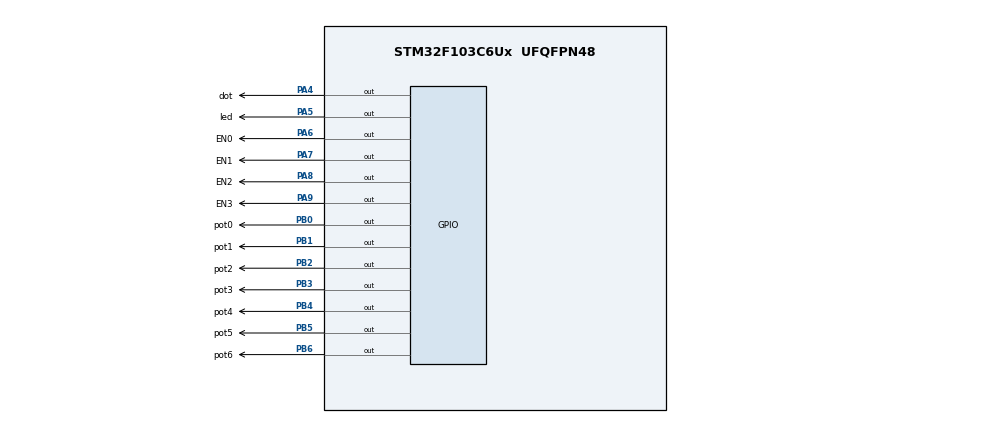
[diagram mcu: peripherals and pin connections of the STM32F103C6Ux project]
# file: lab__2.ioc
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Mcu.Family=STM32F1
Mcu.Name=STM32F103C6Ux
Mcu.Package=UFQFPN48
NVIC.PriorityGroup=NVIC_PRIORITYGROUP_4
NVIC.TIM2_IRQn=true\:0\:0\:false\:false\:true\:true\:true\:true
PA4.GPIO_Label=dot
PA4.Signal=GPIO_Output
PA5.GPIO_Label=led
PA5.Signal=GPIO_Output
PA6.GPIO_Label=EN0
PA6.Signal=GPIO_Output
PA7.GPIO_Label=EN1
PA7.Signal=GPIO_Output
PA8.GPIO_Label=EN2
PA8.Signal=GPIO_Output
PA9.GPIO_Label=EN3
PA9.Signal=GPIO_Output
PB0.GPIO_Label=pot0
PB0.Signal=GPIO_Output
PB1.GPIO_Label=pot1
PB1.Signal=GPIO_Output
PB2.GPIO_Label=pot2
PB2.Signal=GPIO_Output
PB3.GPIO_Label=pot3
PB3.Signal=GPIO_Output
PB4.GPIO_Label=pot4
PB4.Signal=GPIO_Output
PB5.GPIO_Label=pot5
PB5.Signal=GPIO_Output
PB6.GPIO_Label=pot6
PB6.Signal=GPIO_Output
ProjectManager.HeapSize=0x200
ProjectManager.StackSize=0x400
ProjectManager.TargetToolchain=STM32CubeIDE
RCC.APB1Freq_Value=8000000
RCC.APB2Freq_Value=8000000
TIM2.Period=9
TIM2.Prescaler=7999
VP_TIM2_VS_ClockSourceINT.Mode=Internal
board=custom

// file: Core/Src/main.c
/* USER CODE BEGIN Header */
/**
  ******************************************************************************
  * @file           : main.c
  * @brief          : Main program body
  ******************************************************************************
  * @attention
  *
  * Copyright (c) 2023 STMicroelectronics.
  * All rights reserved.
  *
  * This software is licensed under terms that can be found in the LICENSE file
  * in the root directory of this software component.
  * If no LICENSE file comes with this software, it is provided AS-IS.
  *
  ******************************************************************************
  */
/* USER CODE END Header */
#include "main.h"

TIM_HandleTypeDef htim2;

void SystemClock_Config(void);
static void MX_GPIO_Init(void);
static void MX_TIM2_Init(void);

/* USER CODE BEGIN 0 */
void display7SEG(int num){
	if (num==0){
		HAL_GPIO_WritePin(GPIOB, pot0_Pin, RESET);
		HAL_GPIO_WritePin(GPIOB, pot1_Pin, RESET);
		HAL_GPIO_WritePin(GPIOB, pot2_Pin, RESET);
		HAL_GPIO_WritePin(GPIOB, pot3_Pin, RESET);
		HAL_GPIO_WritePin(GPIOB, pot4_Pin, RESET);
		HAL_GPIO_WritePin(GPIOB, pot5_Pin, RESET);
		HAL_GPIO_WritePin(GPIOB, pot6_Pin, SET);
	}
	else if (num==1){
		HAL_GPIO_WritePin(GPIOB, pot0_Pin, SET);
		HAL_GPIO_WritePin(GPIOB, pot1_Pin, RESET);
		HAL_GPIO_WritePin(GPIOB, pot2_Pin, RESET);
		HAL_GPIO_WritePin(GPIOB, pot3_Pin, SET);
		HAL_GPIO_WritePin(GPIOB, pot4_Pin, SET);
		HAL_GPIO_WritePin(GPIOB, pot5_Pin, SET);
		HAL_GPIO_WritePin(GPIOB, pot6_Pin, SET);
	}

	else if (num==2){
		HAL_GPIO_WritePin(GPIOB, pot0_Pin, RESET);
		HAL_GPIO_WritePin(GPIOB, pot1_Pin, RESET);
		HAL_GPIO_WritePin(GPIOB, pot2_Pin, SET);
		HAL_GPIO_WritePin(GPIOB, pot3_Pin, RESET);
		HAL_GPIO_WritePin(GPIOB, pot4_Pin, RESET);
		HAL_GPIO_WritePin(GPIOB, pot5_Pin, SET);
		HAL_GPIO_WritePin(GPIOB, pot6_Pin, RESET);
	}

	else if (num==3){
		HAL_GPIO_WritePin(GPIOB, pot0_Pin, RESET);
		HAL_GPIO_WritePin(GPIOB, pot1_Pin, RESET);
		HAL_GPIO_WritePin(GPIOB, pot2_Pin, RESET);
		HAL_GPIO_WritePin(GPIOB, pot3_Pin, RESET);
		HAL_GPIO_WritePin(GPIOB, pot4_Pin, SET);
		HAL_GPIO_WritePin(GPIOB, pot5_Pin, SET);
		HAL_GPIO_WritePin(GPIOB, pot6_Pin, RESET);
	}

	else if (num==4){
		HAL_GPIO_WritePin(GPIOB, pot0_Pin, SET);
		HAL_GPIO_WritePin(GPIOB, pot1_Pin, RESET);
		HAL_GPIO_WritePin(GPIOB, pot2_Pin, RESET);
		HAL_GPIO_WritePin(GPIOB, pot3_Pin, SET);
		HAL_GPIO_WritePin(GPIOB, pot4_Pin, SET);
		HAL_GPIO_WritePin(GPIOB, pot5_Pin, RESET);
		HAL_GPIO_WritePin(GPIOB, pot6_Pin, RESET);
	}

	else if (num==5){
		HAL_GPIO_WritePin(GPIOB, pot0_Pin, RESET);
		HAL_GPIO_WritePin(GPIOB, pot1_Pin, SET);
		HAL_GPIO_WritePin(GPIOB, pot2_Pin, RESET);
		HAL_GPIO_WritePin(GPIOB, pot3_Pin, RESET);
		HAL_GPIO_WritePin(GPIOB, pot4_Pin, SET);
		HAL_GPIO_WritePin(GPIOB, pot5_Pin, RESET);
		HAL_GPIO_WritePin(GPIOB, pot6_Pin, RESET);
	}

	else if (num==6){
		HAL_GPIO_WritePin(GPIOB, pot0_Pin, RESET);
		HAL_GPIO_WritePin(GPIOB, pot1_Pin, SET);
		HAL_GPIO_WritePin(GPIOB, pot2_Pin, RESET);
		HAL_GPIO_WritePin(GPIOB, pot3_Pin, RESET);
		HAL_GPIO_WritePin(GPIOB, pot4_Pin, RESET);
		HAL_GPIO_WritePin(GPIOB, pot5_Pin, RESET);
		HAL_GPIO_WritePin(GPIOB, pot6_Pin, RESET);
	}

	else if (num==7){
		HAL_GPIO_WritePin(GPIOB, pot0_Pin, RESET);
		HAL_GPIO_WritePin(GPIOB, pot1_Pin, RESET);
		HAL_GPIO_WritePin(GPIOB, pot2_Pin, RESET);
		HAL_GPIO_WritePin(GPIOB, pot3_Pin, SET);
		HAL_GPIO_WritePin(GPIOB, pot4_Pin, SET);
		HAL_GPIO_WritePin(GPIOB, pot5_Pin, SET);
		HAL_GPIO_WritePin(GPIOB, pot6_Pin, SET);
	}
	else if (num==8){
		HAL_GPIO_WritePin(GPIOB, pot0_Pin, RESET);
		HAL_GPIO_WritePin(GPIOB, pot1_Pin, RESET);
		HAL_GPIO_WritePin(GPIOB, pot2_Pin, RESET);
		HAL_GPIO_WritePin(GPIOB, pot3_Pin, RESET);
		HAL_GPIO_WritePin(GPIOB, pot4_Pin, RESET);
		HAL_GPIO_WritePin(GPIOB, pot5_Pin, RESET);
		HAL_GPIO_WritePin(GPIOB, pot6_Pin, RESET);
	}

	else if (num==9){
		HAL_GPIO_WritePin(GPIOB, pot0_Pin, RESET);
		HAL_GPIO_WritePin(GPIOB, pot1_Pin, RESET);
		HAL_GPIO_WritePin(GPIOB, pot2_Pin, RESET);
		HAL_GPIO_WritePin(GPIOB, pot3_Pin, RESET);
		HAL_GPIO_WritePin(GPIOB, pot4_Pin, SET);
		HAL_GPIO_WritePin(GPIOB, pot5_Pin, RESET);
		HAL_GPIO_WritePin(GPIOB, pot6_Pin, RESET);
	}

}
const int MAX_LED = 4;
int index_led = 0;
int led_buffer [4] = {1 , 2 , 3 , 4};
void update7SEG ( int index ) {
	switch ( index ) {
		case 0 :
		// Display the first 7 SEG with led_buffer [0]
			HAL_GPIO_WritePin ( EN0_GPIO_Port , EN0_Pin , RESET ) ;
			HAL_GPIO_WritePin ( EN1_GPIO_Port , EN1_Pin , SET ) ;
			HAL_GPIO_WritePin ( EN2_GPIO_Port , EN2_Pin , SET ) ;
			HAL_GPIO_WritePin ( EN3_GPIO_Port , EN3_Pin , SET ) ;
			display7SEG ( led_buffer [0]) ;
			break ;
		case 1 :
			// Display the first 7 SEG with led_buffer [1]
			HAL_GPIO_WritePin ( EN0_GPIO_Port , EN0_Pin , SET ) ;
			HAL_GPIO_WritePin ( EN1_GPIO_Port , EN1_Pin , RESET ) ;
			HAL_GPIO_WritePin ( EN2_GPIO_Port , EN2_Pin , SET ) ;
			HAL_GPIO_WritePin ( EN3_GPIO_Port , EN3_Pin , SET ) ;
			display7SEG ( led_buffer [1]) ;
			break ;
		case 2 :
			// Display the first 7 SEG with led_buffer [2]
			HAL_GPIO_WritePin ( EN0_GPIO_Port , EN0_Pin , SET ) ;
			HAL_GPIO_WritePin ( EN1_GPIO_Port , EN1_Pin , SET ) ;
			HAL_GPIO_WritePin ( EN2_GPIO_Port , EN2_Pin , RESET ) ;
			HAL_GPIO_WritePin ( EN3_GPIO_Port , EN3_Pin , SET ) ;
			display7SEG ( led_buffer [2]) ;
			break ;
		case 3 :
			// Display the first 7 SEG with led_buffer [3]
			HAL_GPIO_WritePin ( EN0_GPIO_Port , EN0_Pin , SET ) ;
			HAL_GPIO_WritePin ( EN1_GPIO_Port , EN1_Pin , SET ) ;
			HAL_GPIO_WritePin ( EN2_GPIO_Port , EN2_Pin , SET ) ;
			HAL_GPIO_WritePin ( EN3_GPIO_Port , EN3_Pin , RESET ) ;
			display7SEG ( led_buffer [3]) ;
			break ;
		default :
			break ;
	}
}
/* USER CODE END 0 */

int main(void)
{

  /* MCU Configuration--------------------------------------------------------*/

  /* Reset of all peripherals, Initializes the Flash interface and the Systick. */
  HAL_Init();

  /* Configure the system clock */
  SystemClock_Config();

  /* Initialize all configured peripherals */
  MX_GPIO_Init();
  MX_TIM2_Init();
  /* USER CODE BEGIN 2 */
  HAL_TIM_Base_Start_IT(&htim2);
  /* USER CODE END 2 */

  /* Infinite loop */
  while (1)
  {

  }
}

void SystemClock_Config(void)
{
  RCC_OscInitTypeDef RCC_OscInitStruct = {0};
  RCC_ClkInitTypeDef RCC_ClkInitStruct = {0};

  /** Initializes the RCC Oscillators according to the specified parameters
  * in the RCC_OscInitTypeDef structure.
  */
  RCC_OscInitStruct.OscillatorType = RCC_OSCILLATORTYPE_HSI;
  RCC_OscInitStruct.HSIState = RCC_HSI_ON;
  RCC_OscInitStruct.HSICalibrationValue = RCC_HSICALIBRATION_DEFAULT;
  RCC_OscInitStruct.PLL.PLLState = RCC_PLL_NONE;
  if (HAL_RCC_OscConfig(&RCC_OscInitStruct) != HAL_OK)
  {
    Error_Handler();
  }

  /** Initializes the CPU, AHB and APB buses clocks
  */
  RCC_ClkInitStruct.ClockType = RCC_CLOCKTYPE_HCLK|RCC_CLOCKTYPE_SYSCLK
                              |RCC_CLOCKTYPE_PCLK1|RCC_CLOCKTYPE_PCLK2;
  RCC_ClkInitStruct.SYSCLKSource = RCC_SYSCLKSOURCE_HSI;
  RCC_ClkInitStruct.AHBCLKDivider = RCC_SYSCLK_DIV1;
  RCC_ClkInitStruct.APB1CLKDivider = RCC_HCLK_DIV1;
  RCC_ClkInitStruct.APB2CLKDivider = RCC_HCLK_DIV1;

  if (HAL_RCC_ClockConfig(&RCC_ClkInitStruct, FLASH_LATENCY_0) != HAL_OK)
  {
    Error_Handler();
  }
}

static void MX_TIM2_Init(void)
{

  TIM_ClockConfigTypeDef sClockSourceConfig = {0};
  TIM_MasterConfigTypeDef sMasterConfig = {0};

  htim2.Instance = TIM2;
  htim2.Init.Prescaler = 7999;
  htim2.Init.CounterMode = TIM_COUNTERMODE_UP;
  htim2.Init.Period = 9;
  htim2.Init.ClockDivision = TIM_CLOCKDIVISION_DIV1;
  htim2.Init.AutoReloadPreload = TIM_AUTORELOAD_PRELOAD_DISABLE;
  if (HAL_TIM_Base_Init(&htim2) != HAL_OK)
  {
    Error_Handler();
  }
  sClockSourceConfig.ClockSource = TIM_CLOCKSOURCE_INTERNAL;
  if (HAL_TIM_ConfigClockSource(&htim2, &sClockSourceConfig) != HAL_OK)
  {
    Error_Handler();
  }
  sMasterConfig.MasterOutputTrigger = TIM_TRGO_RESET;
  sMasterConfig.MasterSlaveMode = TIM_MASTERSLAVEMODE_DISABLE;
  if (HAL_TIMEx_MasterConfigSynchronization(&htim2, &sMasterConfig) != HAL_OK)
  {
    Error_Handler();
  }

}

static void MX_GPIO_Init(void)
{
  GPIO_InitTypeDef GPIO_InitStruct = {0};

  /* GPIO Ports Clock Enable */
  __HAL_RCC_GPIOA_CLK_ENABLE();
  __HAL_RCC_GPIOB_CLK_ENABLE();

  /*Configure GPIO pin Output Level */
  HAL_GPIO_WritePin(GPIOA, dot_Pin|led_Pin|EN0_Pin|EN1_Pin
                          |EN2_Pin|EN3_Pin, GPIO_PIN_RESET);

  /*Configure GPIO pin Output Level */
  HAL_GPIO_WritePin(GPIOB, pot0_Pin|pot1_Pin|pot2_Pin|pot3_Pin
                          |pot4_Pin|pot5_Pin|pot6_Pin, GPIO_PIN_RESET);

  /*Configure GPIO pins : dot_Pin led_Pin EN0_Pin EN1_Pin
                           EN2_Pin EN3_Pin */
  GPIO_InitStruct.Pin = dot_Pin|led_Pin|EN0_Pin|EN1_Pin
                          |EN2_Pin|EN3_Pin;
  GPIO_InitStruct.Mode = GPIO_MODE_OUTPUT_PP;
  GPIO_InitStruct.Pull = GPIO_NOPULL;
  GPIO_InitStruct.Speed = GPIO_SPEED_FREQ_LOW;
  HAL_GPIO_Init(GPIOA, &GPIO_InitStruct);

  /*Configure GPIO pins : pot0_Pin pot1_Pin pot2_Pin pot3_Pin
                           pot4_Pin pot5_Pin pot6_Pin */
  GPIO_InitStruct.Pin = pot0_Pin|pot1_Pin|pot2_Pin|pot3_Pin
                          |pot4_Pin|pot5_Pin|pot6_Pin;
  GPIO_InitStruct.Mode = GPIO_MODE_OUTPUT_PP;
  GPIO_InitStruct.Pull = GPIO_NOPULL;
  GPIO_InitStruct.Speed = GPIO_SPEED_FREQ_LOW;
  HAL_GPIO_Init(GPIOB, &GPIO_InitStruct);

}

/* USER CODE BEGIN 4 */
int counter = 100;
void HAL_TIM_PeriodElapsedCallback ( TIM_HandleTypeDef *htim ){
	if( counter > 0) {
		counter --;
		if( counter <= 0){
			counter = 25;
			if( index_led < MAX_LED ){
				update7SEG ( index_led ) ;
				index_led ++;
			} else index_led = 0 ;
			HAL_GPIO_TogglePin ( dot_GPIO_Port , dot_Pin ) ;
		}
	}
}

/* USER CODE END 4 */

void Error_Handler(void)
{
  __disable_irq();
  while (1)
  {
  }
}
